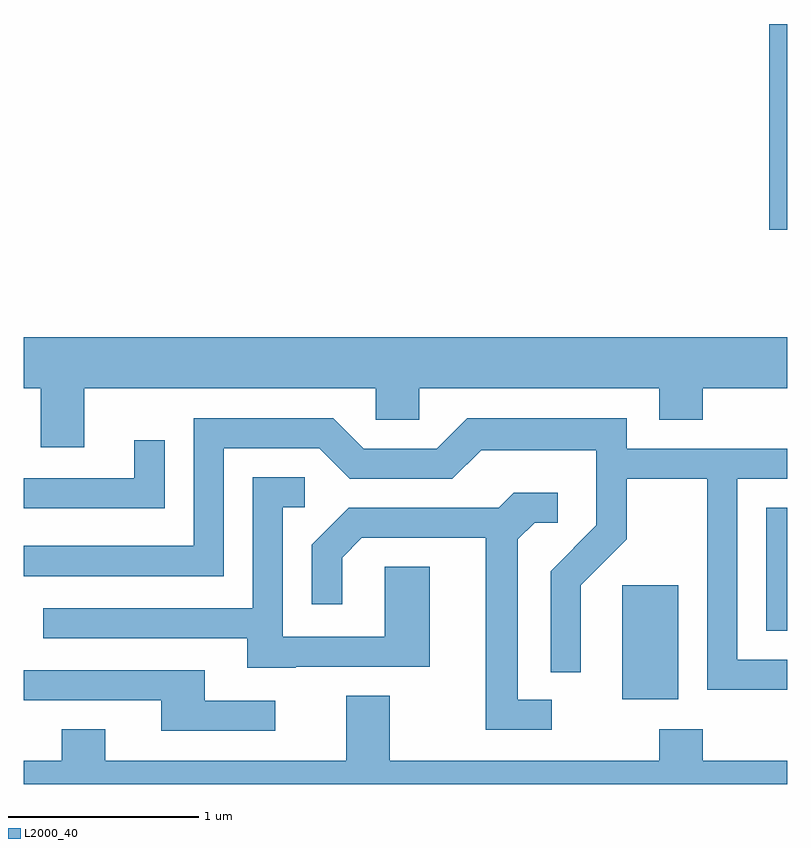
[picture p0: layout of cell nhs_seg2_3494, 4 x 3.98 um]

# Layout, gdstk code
import gdstk
lib = gdstk.Library(unit=1e-6, precision=1e-09)
def R(c, l, rs):  # rectangles x0, y0, x1, y1
    for r in rs: c.add(gdstk.rectangle(r[:2], r[2:], *l))
def P(c, l, *ps):  # polygons
    for p in ps: c.add(gdstk.Polygon(p, *l))
L2000_40 = (2000, 40)

nhs_seg2_3494 = lib.new_cell('nhs_seg2_3494')
R(nhs_seg2_3494, L2000_40, [(290.746,1042.246,291.039,1042.844), (291.501,1042.606,291.611,1043.249), (291.516,1044.706,291.611,1045.784)])
P(nhs_seg2_3494, L2000_40, [(287.929,1043.876),(289.456,1043.876),(289.456,1043.711),(289.684,1043.711),(289.684,1043.876),(290.941,1043.876),(290.941,1043.711),(291.169,1043.711),(291.169,1043.876),(291.611,1043.876),(291.611,1044.144),(287.611,1044.144),(287.611,1043.876),(287.701,1043.876),(287.701,1043.566),(287.929,1043.566)],
  [(291.611,1042.454),(291.349,1042.454),(291.349,1043.401),(291.611,1043.401),(291.611,1043.559),(290.769,1043.559),(290.769,1043.719),(289.934,1043.719),(289.774,1043.559),(289.392,1043.559),(289.232,1043.719),(288.501,1043.719),(288.501,1043.049),(287.611,1043.049),(287.611,1042.891),(288.659,1042.891),(288.659,1043.561),(289.159,1043.561),(289.319,1043.401),(289.857,1043.401),(290.007,1043.551),(290.611,1043.551),(290.611,1043.157),(290.371,1042.917),(290.371,1042.388),(290.529,1042.388),(290.529,1042.844),(290.769,1043.084),(290.769,1043.401),(291.191,1043.401),(291.191,1042.296),(291.611,1042.296)],
  [(288.349,1043.603),(288.191,1043.603),(288.191,1043.404),(287.611,1043.404),(287.611,1043.246),(288.349,1043.246)],
  [(289.035,1042.416),(289.739,1042.416),(289.739,1042.939),(289.501,1042.939),(289.501,1042.574),(288.969,1042.574),(288.969,1043.251),(289.083,1043.251),(289.083,1043.409),(288.811,1043.409),(288.811,1042.724),(287.713,1042.724),(287.713,1042.566),(288.781,1042.566),(288.781,1042.411),(289.035,1042.411)],
  [(290.378,1042.244),(290.199,1042.244),(290.199,1043.084),(290.287,1043.171),(290.408,1043.171),(290.408,1043.329),(290.179,1043.329),(290.099,1043.249),(289.314,1043.249),(289.121,1043.056),(289.121,1042.743),(289.279,1042.743),(289.279,1042.988),(289.382,1043.091),(290.031,1043.091),(290.031,1042.086),(290.378,1042.086)],
  [(288.928,1042.239),(288.559,1042.239),(288.559,1042.399),(287.611,1042.399),(287.611,1042.241),(288.331,1042.241),(288.331,1042.081),(288.928,1042.081)],
  [(291.611,1041.924),(291.169,1041.924),(291.169,1042.089),(290.941,1042.089),(290.941,1041.924),(289.529,1041.924),(289.529,1042.264),(289.301,1042.264),(289.301,1041.924),(288.039,1041.924),(288.039,1042.089),(287.811,1042.089),(287.811,1041.924),(287.611,1041.924),(287.611,1041.802),(291.611,1041.802)])

lib.write_gds('nhs_seg2_3494.gds')
